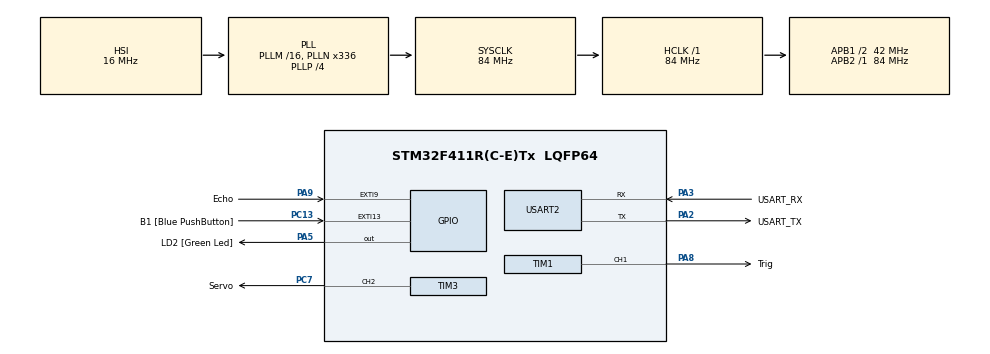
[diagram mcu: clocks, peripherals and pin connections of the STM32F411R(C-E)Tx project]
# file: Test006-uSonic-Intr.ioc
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Mcu.Family=STM32F4
Mcu.Name=STM32F411R(C-E)Tx
Mcu.Package=LQFP64
NVIC.EXTI9_5_IRQn=true\:0\:0\:false\:false\:true\:true\:true\:true
NVIC.PriorityGroup=NVIC_PRIORITYGROUP_0
PA13.GPIO_Label=TMS
PA13.Mode=Serial_Wire
PA13.Signal=SYS_JTMS-SWDIO
PA14.GPIO_Label=TCK
PA14.Mode=Serial_Wire
PA14.Signal=SYS_JTCK-SWCLK
PA2.GPIO_Label=USART_TX
PA2.Mode=Asynchronous
PA2.Signal=USART2_TX
PA3.GPIO_Label=USART_RX
PA3.Mode=Asynchronous
PA3.Signal=USART2_RX
PA5.GPIO_Label=LD2 [Green Led]
PA5.Signal=GPIO_Output
PA8.GPIO_Label=Trig
PA8.Signal=S_TIM1_CH1
PA9.GPIO_Label=Echo
PA9.GPIO_ModeDefaultEXTI=GPIO_MODE_IT_RISING_FALLING
PA9.Signal=GPXTI9
PB3.GPIO_Label=SWO
PB3.Signal=SYS_JTDO-SWO
PC13-ANTI_TAMP.GPIO_Label=B1 [Blue PushButton]
PC13-ANTI_TAMP.GPIO_ModeDefaultEXTI=GPIO_MODE_IT_FALLING
PC13-ANTI_TAMP.Signal=GPXTI13
PC14-OSC32_IN.Mode=LSE-External-Oscillator
PC14-OSC32_IN.Signal=RCC_OSC32_IN
PC15-OSC32_OUT.Mode=LSE-External-Oscillator
PC15-OSC32_OUT.Signal=RCC_OSC32_OUT
PC7.GPIO_Label=Servo
PC7.Signal=S_TIM3_CH2
PH0\ -\ OSC_IN.Mode=HSE-External-Clock-Source
PH0\ -\ OSC_IN.Signal=RCC_OSC_IN
PH1\ -\ OSC_OUT.Mode=HSE-External-Clock-Source
PH1\ -\ OSC_OUT.Signal=RCC_OSC_OUT
ProjectManager.HeapSize=0x200
ProjectManager.StackSize=0x400
ProjectManager.TargetToolchain=STM32CubeIDE
RCC.48MHZClocksFreq_Value=84000000
RCC.AHBFreq_Value=84000000
RCC.APB1CLKDivider=RCC_HCLK_DIV2
RCC.APB1Freq_Value=42000000
RCC.APB1TimFreq_Value=84000000
RCC.APB2Freq_Value=84000000
RCC.APB2TimFreq_Value=84000000
RCC.CortexFreq_Value=84000000
RCC.FLatency-AdvancedSettings=FLASH_LATENCY_2
RCC.HCLKFreq_Value=84000000
RCC.HSE_VALUE=8000000
RCC.HSI_VALUE=16000000
RCC.PLLN=336
RCC.PLLP=RCC_PLLP_DIV4
RCC.SYSCLKFreq_VALUE=84000000
RCC.SYSCLKSource=RCC_SYSCLKSOURCE_PLLCLK
RCC.VCOOutputFreq_Value=336000000
SH.S_TIM1_CH1.0=TIM1_CH1,PWM Generation1 CH1
SH.S_TIM3_CH2.0=TIM3_CH2,PWM Generation2 CH2
TIM1.Channel-PWM\ Generation1\ CH1=TIM_CHANNEL_1
TIM1.Period=60000-1
TIM1.Prescaler=84-1
TIM1.Pulse-PWM\ Generation1\ CH1=10
TIM2.Prescaler=84-1
TIM3.Channel-PWM\ Generation2\ CH2=TIM_CHANNEL_2
TIM3.Period=2000-1
TIM3.Prescaler=840-1
USART2.VirtualMode=VM_ASYNC
VP_TIM2_VS_ClockSourceINT.Mode=Internal
VP_TIM3_VS_ClockSourceINT.Mode=Internal
board=NUCLEO-F411RE

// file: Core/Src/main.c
/* USER CODE BEGIN Header */
/**
  ******************************************************************************
  * @file           : main.c
  * @brief          : Main program body
  ******************************************************************************
  * @attention
  *
  * Copyright (c) 2025 STMicroelectronics.
  * All rights reserved.
  *
  * This software is licensed under terms that can be found in the LICENSE file
  * in the root directory of this software component.
  * If no LICENSE file comes with this software, it is provided AS-IS.
  *
  ******************************************************************************
  */
/* USER CODE END Header */
#include "main.h"

/* USER CODE BEGIN Includes */
#include "uSonic.h"
/* USER CODE END Includes */

TIM_HandleTypeDef htim1;
TIM_HandleTypeDef htim2;
TIM_HandleTypeDef htim3;

UART_HandleTypeDef huart2;

void SystemClock_Config(void);
static void MX_GPIO_Init(void);
static void MX_USART2_UART_Init(void);
static void MX_TIM2_Init(void);
static void MX_TIM3_Init(void);
static void MX_TIM1_Init(void);

/* USER CODE BEGIN 0 */
int t1 = 0, t2 = 0;
double dist = 0.0;
void HAL_GPIO_EXTI_Callback(uint16_t GPIO_Pin)
{
	if(GPIO_Pin == Echo_Pin)
	{
		if(HAL_GPIO_ReadPin(Echo_GPIO_Port, Echo_Pin) == 1) // rising Edge
		{
			t1 = htim2.Instance->CNT;
		}
		else  // falling Edge
		{
			t2 = htim2.Instance->CNT;
			dist = (t2 - t1) * 0.17;
		}
	}
}
void HAL_TIM_PeriodElapsedCallback(TIM_HandleTypeDef *htim)
{
	Trigger();
}
/* USER CODE END 0 */

int main(void)
{

  /* MCU Configuration--------------------------------------------------------*/

  /* Reset of all peripherals, Initializes the Flash interface and the Systick. */
  HAL_Init();

  /* Configure the system clock */
  SystemClock_Config();

  /* Initialize all configured peripherals */
  MX_GPIO_Init();
  MX_USART2_UART_Init();
  MX_TIM2_Init();
  MX_TIM3_Init();
  MX_TIM1_Init();
  /* USER CODE BEGIN 2 */
  ProgramStart("uSonic Test - GPIO Interrupt (with Servo motor)");
  HAL_TIM_PWM_Start(&htim1, TIM_CHANNEL_1);
  HAL_TIM_Base_Start(&htim2);
  HAL_TIM_PWM_Start(&htim3, TIM_CHANNEL_2);  // for Servo control
  //htim1.Instance->CCR1 = 10;
  /* USER CODE END 2 */

  /* Infinite loop */
  /* USER CODE BEGIN WHILE */
  int min = 50, max = 250;
  while (1)
  {
	  //Trigger();
	  int iDist = dist / 10;  // mm ==> cm
	  Cursor(0, 5);
	  printf("Distance = %d cm", iDist);
	  if(iDist < 50) // near position
	  {
		  printf("    Door Open.   \r\n");
		  htim3.Instance->CCR2 = max;
	  }
	  else
	  {
		  printf("    Door Closed.   \r\n");
		  htim3.Instance->CCR2 = min;
	  }
	  HAL_Delay(50);
    /* USER CODE END WHILE */

  }
}

void SystemClock_Config(void)
{
  RCC_OscInitTypeDef RCC_OscInitStruct = {0};
  RCC_ClkInitTypeDef RCC_ClkInitStruct = {0};

  /** Configure the main internal regulator output voltage
  */
  __HAL_RCC_PWR_CLK_ENABLE();
  __HAL_PWR_VOLTAGESCALING_CONFIG(PWR_REGULATOR_VOLTAGE_SCALE1);

  /** Initializes the RCC Oscillators according to the specified parameters
  * in the RCC_OscInitTypeDef structure.
  */
  RCC_OscInitStruct.OscillatorType = RCC_OSCILLATORTYPE_HSI;
  RCC_OscInitStruct.HSIState = RCC_HSI_ON;
  RCC_OscInitStruct.HSICalibrationValue = RCC_HSICALIBRATION_DEFAULT;
  RCC_OscInitStruct.PLL.PLLState = RCC_PLL_ON;
  RCC_OscInitStruct.PLL.PLLSource = RCC_PLLSOURCE_HSI;
  RCC_OscInitStruct.PLL.PLLM = 16;
  RCC_OscInitStruct.PLL.PLLN = 336;
  RCC_OscInitStruct.PLL.PLLP = RCC_PLLP_DIV4;
  RCC_OscInitStruct.PLL.PLLQ = 4;
  if (HAL_RCC_OscConfig(&RCC_OscInitStruct) != HAL_OK)
  {
    Error_Handler();
  }

  /** Initializes the CPU, AHB and APB buses clocks
  */
  RCC_ClkInitStruct.ClockType = RCC_CLOCKTYPE_HCLK|RCC_CLOCKTYPE_SYSCLK
                              |RCC_CLOCKTYPE_PCLK1|RCC_CLOCKTYPE_PCLK2;
  RCC_ClkInitStruct.SYSCLKSource = RCC_SYSCLKSOURCE_PLLCLK;
  RCC_ClkInitStruct.AHBCLKDivider = RCC_SYSCLK_DIV1;
  RCC_ClkInitStruct.APB1CLKDivider = RCC_HCLK_DIV2;
  RCC_ClkInitStruct.APB2CLKDivider = RCC_HCLK_DIV1;

  if (HAL_RCC_ClockConfig(&RCC_ClkInitStruct, FLASH_LATENCY_2) != HAL_OK)
  {
    Error_Handler();
  }
}

static void MX_TIM1_Init(void)
{

  TIM_MasterConfigTypeDef sMasterConfig = {0};
  TIM_OC_InitTypeDef sConfigOC = {0};
  TIM_BreakDeadTimeConfigTypeDef sBreakDeadTimeConfig = {0};

  htim1.Instance = TIM1;
  htim1.Init.Prescaler = 84-1;
  htim1.Init.CounterMode = TIM_COUNTERMODE_UP;
  htim1.Init.Period = 60000-1;
  htim1.Init.ClockDivision = TIM_CLOCKDIVISION_DIV1;
  htim1.Init.RepetitionCounter = 0;
  htim1.Init.AutoReloadPreload = TIM_AUTORELOAD_PRELOAD_DISABLE;
  if (HAL_TIM_PWM_Init(&htim1) != HAL_OK)
  {
    Error_Handler();
  }
  sMasterConfig.MasterOutputTrigger = TIM_TRGO_RESET;
  sMasterConfig.MasterSlaveMode = TIM_MASTERSLAVEMODE_DISABLE;
  if (HAL_TIMEx_MasterConfigSynchronization(&htim1, &sMasterConfig) != HAL_OK)
  {
    Error_Handler();
  }
  sConfigOC.OCMode = TIM_OCMODE_PWM1;
  sConfigOC.Pulse = 10;
  sConfigOC.OCPolarity = TIM_OCPOLARITY_HIGH;
  sConfigOC.OCNPolarity = TIM_OCNPOLARITY_HIGH;
  sConfigOC.OCFastMode = TIM_OCFAST_DISABLE;
  sConfigOC.OCIdleState = TIM_OCIDLESTATE_RESET;
  sConfigOC.OCNIdleState = TIM_OCNIDLESTATE_RESET;
  if (HAL_TIM_PWM_ConfigChannel(&htim1, &sConfigOC, TIM_CHANNEL_1) != HAL_OK)
  {
    Error_Handler();
  }
  sBreakDeadTimeConfig.OffStateRunMode = TIM_OSSR_DISABLE;
  sBreakDeadTimeConfig.OffStateIDLEMode = TIM_OSSI_DISABLE;
  sBreakDeadTimeConfig.LockLevel = TIM_LOCKLEVEL_OFF;
  sBreakDeadTimeConfig.DeadTime = 0;
  sBreakDeadTimeConfig.BreakState = TIM_BREAK_DISABLE;
  sBreakDeadTimeConfig.BreakPolarity = TIM_BREAKPOLARITY_HIGH;
  sBreakDeadTimeConfig.AutomaticOutput = TIM_AUTOMATICOUTPUT_DISABLE;
  if (HAL_TIMEx_ConfigBreakDeadTime(&htim1, &sBreakDeadTimeConfig) != HAL_OK)
  {
    Error_Handler();
  }
  HAL_TIM_MspPostInit(&htim1);

}

static void MX_TIM2_Init(void)
{

  TIM_ClockConfigTypeDef sClockSourceConfig = {0};
  TIM_MasterConfigTypeDef sMasterConfig = {0};

  htim2.Instance = TIM2;
  htim2.Init.Prescaler = 84-1;
  htim2.Init.CounterMode = TIM_COUNTERMODE_UP;
  htim2.Init.Period = 4294967295;
  htim2.Init.ClockDivision = TIM_CLOCKDIVISION_DIV1;
  htim2.Init.AutoReloadPreload = TIM_AUTORELOAD_PRELOAD_DISABLE;
  if (HAL_TIM_Base_Init(&htim2) != HAL_OK)
  {
    Error_Handler();
  }
  sClockSourceConfig.ClockSource = TIM_CLOCKSOURCE_INTERNAL;
  if (HAL_TIM_ConfigClockSource(&htim2, &sClockSourceConfig) != HAL_OK)
  {
    Error_Handler();
  }
  sMasterConfig.MasterOutputTrigger = TIM_TRGO_RESET;
  sMasterConfig.MasterSlaveMode = TIM_MASTERSLAVEMODE_DISABLE;
  if (HAL_TIMEx_MasterConfigSynchronization(&htim2, &sMasterConfig) != HAL_OK)
  {
    Error_Handler();
  }

}

static void MX_TIM3_Init(void)
{

  TIM_ClockConfigTypeDef sClockSourceConfig = {0};
  TIM_MasterConfigTypeDef sMasterConfig = {0};
  TIM_OC_InitTypeDef sConfigOC = {0};

  htim3.Instance = TIM3;
  htim3.Init.Prescaler = 840-1;
  htim3.Init.CounterMode = TIM_COUNTERMODE_UP;
  htim3.Init.Period = 2000-1;
  htim3.Init.ClockDivision = TIM_CLOCKDIVISION_DIV1;
  htim3.Init.AutoReloadPreload = TIM_AUTORELOAD_PRELOAD_DISABLE;
  if (HAL_TIM_Base_Init(&htim3) != HAL_OK)
  {
    Error_Handler();
  }
  sClockSourceConfig.ClockSource = TIM_CLOCKSOURCE_INTERNAL;
  if (HAL_TIM_ConfigClockSource(&htim3, &sClockSourceConfig) != HAL_OK)
  {
    Error_Handler();
  }
  if (HAL_TIM_PWM_Init(&htim3) != HAL_OK)
  {
    Error_Handler();
  }
  sMasterConfig.MasterOutputTrigger = TIM_TRGO_RESET;
  sMasterConfig.MasterSlaveMode = TIM_MASTERSLAVEMODE_DISABLE;
  if (HAL_TIMEx_MasterConfigSynchronization(&htim3, &sMasterConfig) != HAL_OK)
  {
    Error_Handler();
  }
  sConfigOC.OCMode = TIM_OCMODE_PWM1;
  sConfigOC.Pulse = 0;
  sConfigOC.OCPolarity = TIM_OCPOLARITY_HIGH;
  sConfigOC.OCFastMode = TIM_OCFAST_DISABLE;
  if (HAL_TIM_PWM_ConfigChannel(&htim3, &sConfigOC, TIM_CHANNEL_2) != HAL_OK)
  {
    Error_Handler();
  }
  HAL_TIM_MspPostInit(&htim3);

}

static void MX_USART2_UART_Init(void)
{

  huart2.Instance = USART2;
  huart2.Init.BaudRate = 115200;
  huart2.Init.WordLength = UART_WORDLENGTH_8B;
  huart2.Init.StopBits = UART_STOPBITS_1;
  huart2.Init.Parity = UART_PARITY_NONE;
  huart2.Init.Mode = UART_MODE_TX_RX;
  huart2.Init.HwFlowCtl = UART_HWCONTROL_NONE;
  huart2.Init.OverSampling = UART_OVERSAMPLING_16;
  if (HAL_UART_Init(&huart2) != HAL_OK)
  {
    Error_Handler();
  }

}

static void MX_GPIO_Init(void)
{
  GPIO_InitTypeDef GPIO_InitStruct = {0};

  /* GPIO Ports Clock Enable */
  __HAL_RCC_GPIOC_CLK_ENABLE();
  __HAL_RCC_GPIOH_CLK_ENABLE();
  __HAL_RCC_GPIOA_CLK_ENABLE();
  __HAL_RCC_GPIOB_CLK_ENABLE();

  /*Configure GPIO pin Output Level */
  HAL_GPIO_WritePin(LD2_GPIO_Port, LD2_Pin, GPIO_PIN_RESET);

  /*Configure GPIO pin : B1_Pin */
  GPIO_InitStruct.Pin = B1_Pin;
  GPIO_InitStruct.Mode = GPIO_MODE_IT_FALLING;
  GPIO_InitStruct.Pull = GPIO_NOPULL;
  HAL_GPIO_Init(B1_GPIO_Port, &GPIO_InitStruct);

  /*Configure GPIO pin : LD2_Pin */
  GPIO_InitStruct.Pin = LD2_Pin;
  GPIO_InitStruct.Mode = GPIO_MODE_OUTPUT_PP;
  GPIO_InitStruct.Pull = GPIO_NOPULL;
  GPIO_InitStruct.Speed = GPIO_SPEED_FREQ_LOW;
  HAL_GPIO_Init(LD2_GPIO_Port, &GPIO_InitStruct);

  /*Configure GPIO pin : Echo_Pin */
  GPIO_InitStruct.Pin = Echo_Pin;
  GPIO_InitStruct.Mode = GPIO_MODE_IT_RISING_FALLING;
  GPIO_InitStruct.Pull = GPIO_NOPULL;
  HAL_GPIO_Init(Echo_GPIO_Port, &GPIO_InitStruct);

  /* EXTI interrupt init*/
  HAL_NVIC_SetPriority(EXTI9_5_IRQn, 0, 0);
  HAL_NVIC_EnableIRQ(EXTI9_5_IRQn);

}

void Error_Handler(void)
{
  __disable_irq();
  while (1)
  {
  }
}
